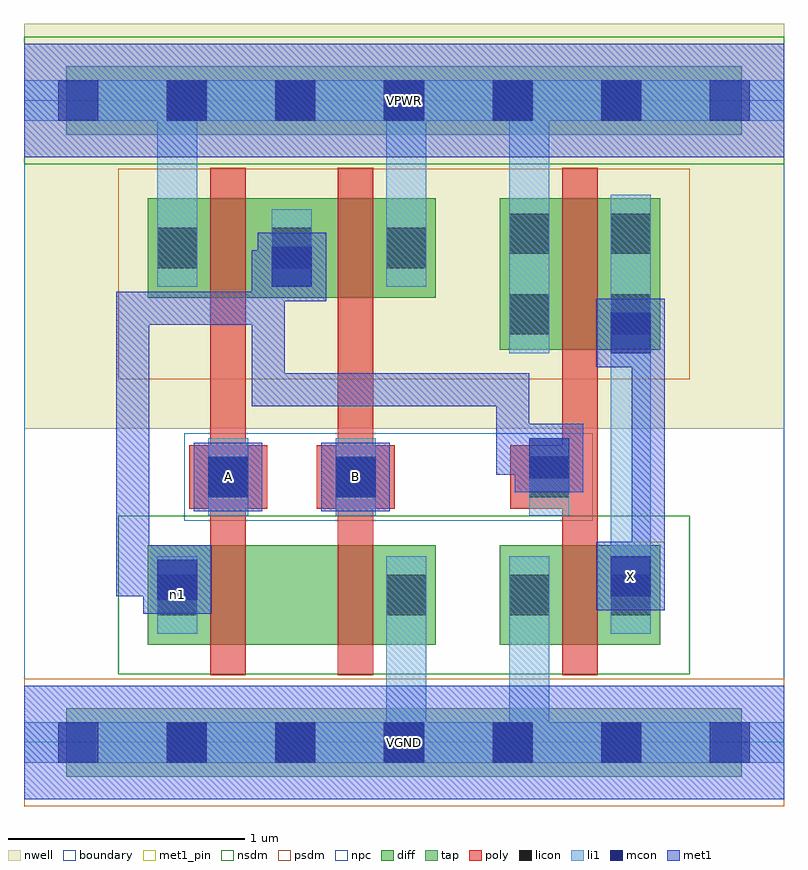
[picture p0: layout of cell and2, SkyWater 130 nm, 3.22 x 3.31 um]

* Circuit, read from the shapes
.subckt and2 A B VGND VPWR X n1
XM1 n2 A n1 VGND sky130_fd_pr__nfet_01v8 w=0.42 l=0.15
XM2 VGND B n2 VGND sky130_fd_pr__nfet_01v8 w=0.42 l=0.15
XM3 X n1 VGND VGND sky130_fd_pr__nfet_01v8 w=0.42 l=0.15
XM4 n1 A VPWR VPWR sky130_fd_pr__pfet_01v8 w=0.42 l=0.15
XM5 VPWR B n1 VPWR sky130_fd_pr__pfet_01v8 w=0.42 l=0.15
XM6 X n1 VPWR VPWR sky130_fd_pr__pfet_01v8 w=0.64 l=0.15
.ends

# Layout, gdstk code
import gdstk
lib = gdstk.Library(unit=1e-6, precision=1e-09)
def R(c, l, rs):  # rectangles x0, y0, x1, y1
    for r in rs: c.add(gdstk.rectangle(r[:2], r[2:], *l))
def A(c, l, x, y, w, h, nx, ny, dx, dy):  # array of equal rectangles
    R(c, l, [(x+i*dx, y+j*dy, x+i*dx+w, y+j*dy+h) for i in range(nx) for j in range(ny)])
nwell = (64, 20)
diff = (65, 20)
tap = (65, 44)
poly = (66, 20)
licon = (66, 44)
li1 = (67, 20)
mcon = (67, 44)
met1_pin = (68, 16)
met1 = (68, 20)
nsdm = (93, 44)
psdm = (94, 20)
npc = (95, 20)
boundary = (235, 4)

and2 = lib.new_cell('and2')
R(and2, nwell, [(0,1.33,3.22,3.045)])
R(and2, diff, [(0.525,0.415,1.745,0.835), (2.015,0.415,2.695,0.835), (2.015,1.665,2.695,2.305), (0.525,1.885,1.745,2.305)])
R(and2, tap, [(0.18,-0.145,3.04,0.145), (0.18,2.575,3.04,2.865)])
R(and2, poly, [(0.79,0.285,0.94,2.435), (1.33,0.285,1.48,2.435), (2.28,0.285,2.43,2.435), (0.7,0.99,1.03,1.26), (1.24,0.99,1.57,1.26), (2.06,0.99,2.39,1.26)])
A(and2, licon, 0.605, -0.085, 0.17, 0.17, 5, 2, 0.46, 2.72)
A(and2, licon, 0.565, 2.01, 0.17, 0.17, 3, 1, 0.485, 0)
R(and2, licon, [(0.565,0.54,0.735,0.71), (1.535,0.54,1.705,0.71), (2.055,0.54,2.225,0.71), (2.485,0.54,2.655,0.71), (0.78,1.04,0.95,1.21), (1.32,1.04,1.49,1.21), (2.14,1.04,2.31,1.21), (2.055,1.73,2.225,1.9), (2.485,1.73,2.655,1.9), (2.055,2.07,2.225,2.24), (2.485,2.07,2.655,2.24)])
A(and2, li1, 0.565, 1.93, 0.17, 0.33, 3, 1, 0.485, 0)
R(and2, li1, [(0,-0.085,3.22,0.085), (1.535,-0.085,1.705,0.79), (2.055,-0.085,2.225,0.79), (0.565,0.46,0.735,0.79), (1.535,0.46,1.705,0.79), (2.055,0.46,2.225,0.79), (2.485,0.46,2.655,0.79), (2.485,0.46,2.655,2.32), (0.78,0.96,0.95,1.29), (1.32,0.96,1.49,1.29), (2.14,0.96,2.31,1.29), (2.055,1.65,2.225,2.32), (2.055,1.65,2.225,2.805), (2.485,1.65,2.655,2.32), (0.565,1.93,0.735,2.805), (1.535,1.93,1.705,2.805), (0,2.635,3.22,2.805)])
A(and2, mcon, 0.145, -0.085, 0.17, 0.17, 7, 2, 0.46, 2.72)
R(and2, mcon, [(0.565,0.605,0.735,0.775), (2.485,0.62,2.655,0.79), (0.78,1.04,0.95,1.21), (1.32,1.04,1.49,1.21), (2.14,1.12,2.31,1.29), (2.485,1.65,2.655,1.82), (1.05,1.93,1.22,2.1)])
R(and2, met1_pin, [(0,-0.24,3.22,0.24), (2.425,0.56,2.715,0.85), (0.72,0.98,1.01,1.27), (1.26,0.98,1.55,1.27), (0,2.48,3.22,2.96)])
R(and2, met1, [(0,-0.24,3.22,0.24), (0.505,0.545,0.795,0.835), (2.425,0.56,2.715,0.85), (0.39,0.62,0.72,0.76), (0.39,0.62,0.53,1.91), (2.5,0.635,2.715,0.775), (2.575,0.635,2.715,0.875), (2.575,0.735,2.715,1.68), (0.72,0.98,1.01,1.27), (1.26,0.98,1.55,1.27), (2.08,1.06,2.37,1.35), (2,1.135,2.14,1.45), (2,1.135,2.295,1.275), (2,1.31,2.14,1.565), (0.965,1.425,1.105,1.91), (0.965,1.425,2.14,1.565), (2.575,1.54,2.715,1.805), (2.425,1.59,2.715,1.88), (2.5,1.665,2.715,1.805), (0.39,1.77,1.105,1.91), (0.965,1.77,1.105,2.085), (0.99,1.87,1.28,2.16), (0.965,1.945,1.205,2.085), (0,2.48,3.22,2.96)])
R(and2, nsdm, [(0.4,0.29,2.82,0.96), (0,2.45,3.22,2.99)])
R(and2, psdm, [(0,-0.27,3.22,0.27), (0.4,1.54,2.82,2.43)])
R(and2, npc, [(0.68,0.94,2.41,1.31)])
R(and2, boundary, [(0,0,3.22,2.72)])
and2.add(gdstk.Label('n1', (0.65,0.625), layer=67, texttype=5))
and2.add(gdstk.Label('A', (0.865,1.125), layer=68, texttype=5))
and2.add(gdstk.Label('B', (1.405,1.125), layer=68, texttype=5))
and2.add(gdstk.Label('X', (2.57,0.705), layer=68, texttype=5))
and2.add(gdstk.Label('VPWR', (1.61,2.72), layer=68, texttype=5))
and2.add(gdstk.Label('VGND', (1.61,0), layer=68, texttype=5))
and2.add(gdstk.Label('A', (0.865,1.125), layer=68, texttype=16))
and2.add(gdstk.Label('B', (1.405,1.125), layer=68, texttype=16))
and2.add(gdstk.Label('X', (2.57,0.705), layer=68, texttype=16))
and2.add(gdstk.Label('VPWR', (1.61,2.72), layer=68, texttype=16))
and2.add(gdstk.Label('VGND', (1.61,0), layer=68, texttype=16))

lib.write_gds('and2.gds')
